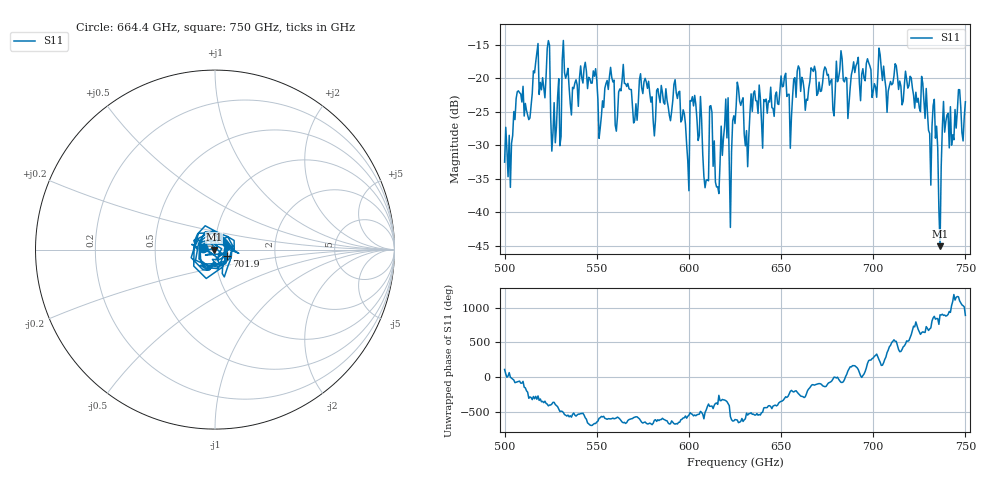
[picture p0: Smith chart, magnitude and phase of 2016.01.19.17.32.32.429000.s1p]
!Created with skrf (http://scikit-rf.org).
# GHz S RI R 50.0
!freq ReS11 ImS11
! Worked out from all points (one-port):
!   401 points, 500 GHz to 750 GHz, reference 50 ohm
!   lowest |S11| = -45.1 dB at 736.2 GHz (marker M1), VSWR 1.01, Z = 49.4 + j0.0465 ohm
!   |S11| at or under -10 dB: start of sweep to end of sweep
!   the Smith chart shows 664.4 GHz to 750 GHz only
!   S11 on the Smith chart (normalised r, x): 664.4 GHz: 0.87, +0.02; 701.9 GHz: 1.13, -0.08; 750 GHz: 0.88, +0.03
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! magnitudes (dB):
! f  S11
! 500 GHz  -32.5
! 507.5 GHz  -21.9
! 513.1 GHz  -26.2
! 516.9 GHz  -17.6
! 523.8 GHz  -14.4
! 526.9 GHz  -23.6
! 531.2 GHz  -17.3
! 562.5 GHz  -21.6
! 593.8 GHz  -23.0
! 598.8 GHz  -29.8
! 602.5 GHz  -24.1
! 609.4 GHz  -35.2
! 612.5 GHz  -25.1
! 615.6 GHz  -36.2
! 620 GHz  -23.1
! 623.1 GHz  -31.0
! 625 GHz  -26.7
! 631.2 GHz  -27.8
! 635 GHz  -22.3
! 656.2 GHz  -22.7
! 664.4 GHz  -23.3
! 687.5 GHz  -21.4
! 701.9 GHz  -22.8
! 718.8 GHz  -21.5
! 733.1 GHz  -23.1
! 736.2 GHz  -45.1
! 738.8 GHz  -28.0
! 750 GHz  -23.5
